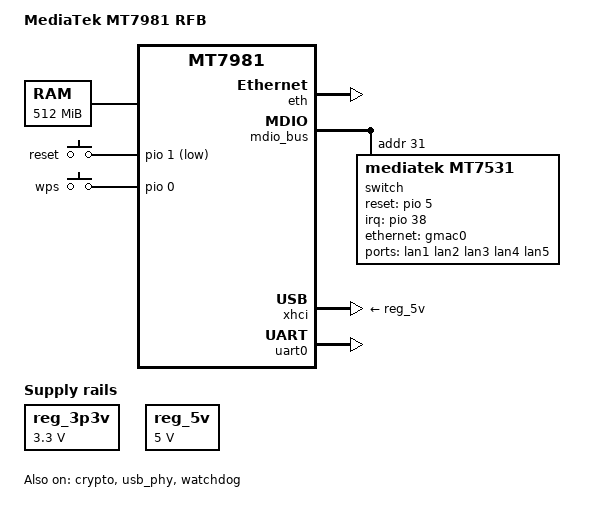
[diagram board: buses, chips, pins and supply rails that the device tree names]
// SPDX-License-Identifier: (GPL-2.0 OR MIT)
/*
 * Copyright (C) 2022 MediaTek Inc.
 * Author: Sam.Shih <sam.shih@mediatek.com>
 */

/dts-v1/;
#include "mt7981.dtsi"

/ {
	model = "MediaTek MT7981 RFB";
	compatible = "mediatek,mt7981-rfb", "mediatek,mt7981";

	aliases {
		serial0 = &uart0;
	};

	chosen {
		stdout-path = "serial0:115200n8";
	};

	memory {
		reg = <0 0x40000000 0 0x20000000>;
	};

	reg_3p3v: regulator-3p3v {
		compatible = "regulator-fixed";
		regulator-name = "fixed-3.3V";
		regulator-min-microvolt = <3300000>;
		regulator-max-microvolt = <3300000>;
		regulator-boot-on;
		regulator-always-on;
	};

	reg_5v: regulator-5v {
		compatible = "regulator-fixed";
		regulator-name = "fixed-5V";
		regulator-min-microvolt = <5000000>;
		regulator-max-microvolt = <5000000>;
		regulator-boot-on;
		regulator-always-on;
	};

	gpio-keys {
		compatible = "gpio-keys";
		reset {
			label = "reset";
			linux,code = <KEY_RESTART>;
			gpios = <&pio 1 GPIO_ACTIVE_LOW>;
		};
		wps {
			label = "wps";
			linux,code = <KEY_WPS_BUTTON>;
			gpios = <&pio 0 GPIO_ACTIVE_HIGH>;
		};
	};
};

&eth {
	status = "okay";

	gmac0: mac@0 {
		compatible = "mediatek,eth-mac";
		reg = <0>;
		phy-mode = "2500base-x";

		fixed-link {
			speed = <2500>;
			full-duplex;
			pause;
		};
	};

	gmac1: mac@1 {
		compatible = "mediatek,eth-mac";
		reg = <1>;
		phy-mode = "gmii";
		phy-handle = <&int_gbe_phy>;
	};
};

&mdio_bus {
	switch: switch@1f {
		compatible = "mediatek,mt7531";
		reg = <31>;
		interrupt-controller;
		#interrupt-cells = <1>;
		interrupt-parent = <&pio>;
		interrupts = <38 IRQ_TYPE_LEVEL_HIGH>;
		reset-gpios = <&pio 5 GPIO_ACTIVE_HIGH>;
	};
};

&crypto {
	status = "okay";
};

&pio {
	spi0_flash_pins: spi0-pins {
		mux {
			function = "spi";
			groups = "spi0", "spi0_wp_hold";
		};
		conf-pu {
			pins = "SPI0_CS", "SPI0_HOLD", "SPI0_WP";
			drive-strength = <MTK_DRIVE_8mA>;
			bias-pull-up = <MTK_PUPD_SET_R1R0_11>;
		};
		conf-pd {
			pins = "SPI0_CLK", "SPI0_MOSI", "SPI0_MISO";
			drive-strength = <MTK_DRIVE_8mA>;
			bias-pull-down = <MTK_PUPD_SET_R1R0_11>;
		};
	};

};

&spi0 {
	pinctrl-names = "default";
	pinctrl-0 = <&spi0_flash_pins>;
	cs-gpios = <0>, <0>;
	#address-cells = <1>;
	#size-cells = <0>;
	status = "disabled";
};

&switch {
	ports {
		#address-cells = <1>;
		#size-cells = <0>;

		port@0 {
			reg = <0>;
			label = "lan1";
		};

		port@1 {
			reg = <1>;
			label = "lan2";
		};

		port@2 {
			reg = <2>;
			label = "lan3";
		};

		port@3 {
			reg = <3>;
			label = "lan4";
		};

		sw_p5: port@5 {
			reg = <5>;
			label = "lan5";
			status = "disabled";
		};

		port@6 {
			reg = <6>;
			ethernet = <&gmac0>;
			phy-mode = "2500base-x";

			fixed-link {
				speed = <2500>;
				full-duplex;
				pause;
			};
		};
	};
};

&xhci {
	vusb33-supply = <&reg_3p3v>;
	vbus-supply = <&reg_5v>;
	status = "okay";
};

&uart0 {
	status = "okay";
};

&usb_phy {
	status = "okay";
};

&watchdog {
	status = "okay";
};
